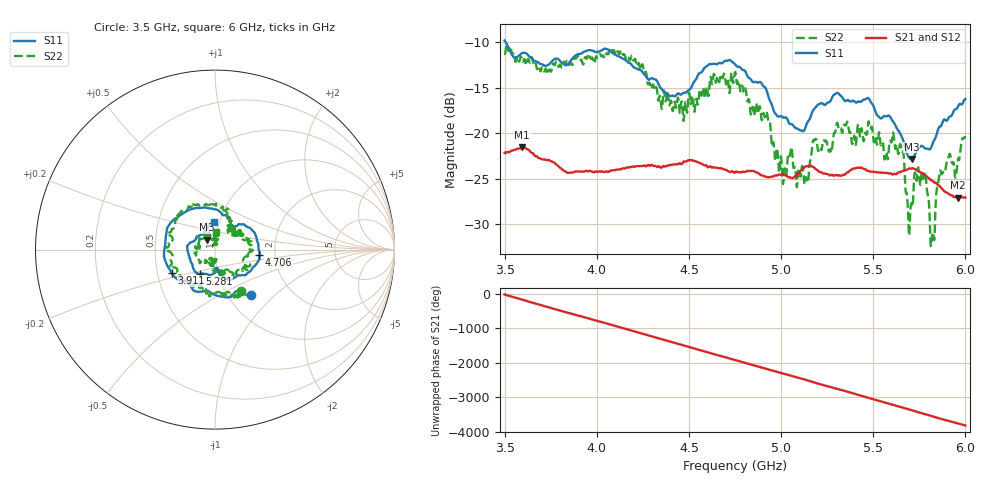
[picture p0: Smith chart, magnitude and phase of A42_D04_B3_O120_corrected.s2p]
! Created with skrf 1.9.0 (http://scikit-rf.org).
# Hz S RI R 50.0
!freq ReS11 ImS11 ReS21 ImS21 ReS12 ImS12 ReS22 ImS22
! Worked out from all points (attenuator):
!   1601 points, 3.5 GHz to 6 GHz, reference 50 ohm
!   highest |S21| = -21.56 dB at 3.595 GHz (marker M1); lowest = -27.1 dB at 5.958 GHz (marker M2)
!   lowest |S11| = -22.8 dB at 5.708 GHz (marker M3), VSWR 1.16, Z = 45.3 + j5.08 ohm
!   |S11| at or under -10 dB: 3.506 GHz to end of sweep
!   |S22| runs from -32.4 to -10.2 dB; largest |S21 - S12| = 0.001
!   S11 on the Smith chart (normalised r, x): 3.5 GHz: 1.27, -0.72; 3.911 GHz: 0.59, -0.17; 4.706 GHz: 1.65, -0.11; 5.281 GHz: 0.81, -0.23; 6 GHz: 0.94, +0.30
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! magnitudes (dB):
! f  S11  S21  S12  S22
! 3.5 GHz  -9.8  -22.2  -22.1  -11.3
! 3.595 GHz  -11.2  -21.6  -21.5  -12.0
! 3.911 GHz  -11.3  -24.2  -24.1  -12.0
! 3.917 GHz  -11.2  -24.2  -24.2  -11.9
! 4.139 GHz  -11.8  -23.9  -23.8  -11.2
! 4.334 GHz  -14.6  -23.6  -23.6  -16.4
! 4.706 GHz  -12.0  -24.1  -24.0  -14.3
! 4.75 GHz  -12.4  -24.3  -24.2  -13.3
! 4.928 GHz  -15.8  -24.8  -24.8  -18.4
! 5.017 GHz  -18.3  -24.6  -24.5  -24.2
! 5.138 GHz  -19.1  -23.6  -23.5  -25.0
! 5.167 GHz  -17.8  -23.6  -23.6  -21.8
! 5.281 GHz  -15.9  -24.6  -24.5  -20.8
! 5.584 GHz  -18.1  -24.4  -24.3  -21.8
! 5.655 GHz  -20.4  -24.2  -24.1  -22.0
! 5.688 GHz  -22.5  -24.0  -23.9  -28.0
! 5.708 GHz  -22.8  -23.9  -23.8  -27.8
! 5.775 GHz  -21.6  -24.5  -24.4  -24.7
! 5.822 GHz  -21.2  -25.2  -25.2  -31.0
! 5.859 GHz  -19.3  -25.8  -25.7  -24.5
! 5.958 GHz  -17.1  -27.1  -27.0  -23.3
! 6 GHz  -16.2  -27.1  -27.0  -20.3
